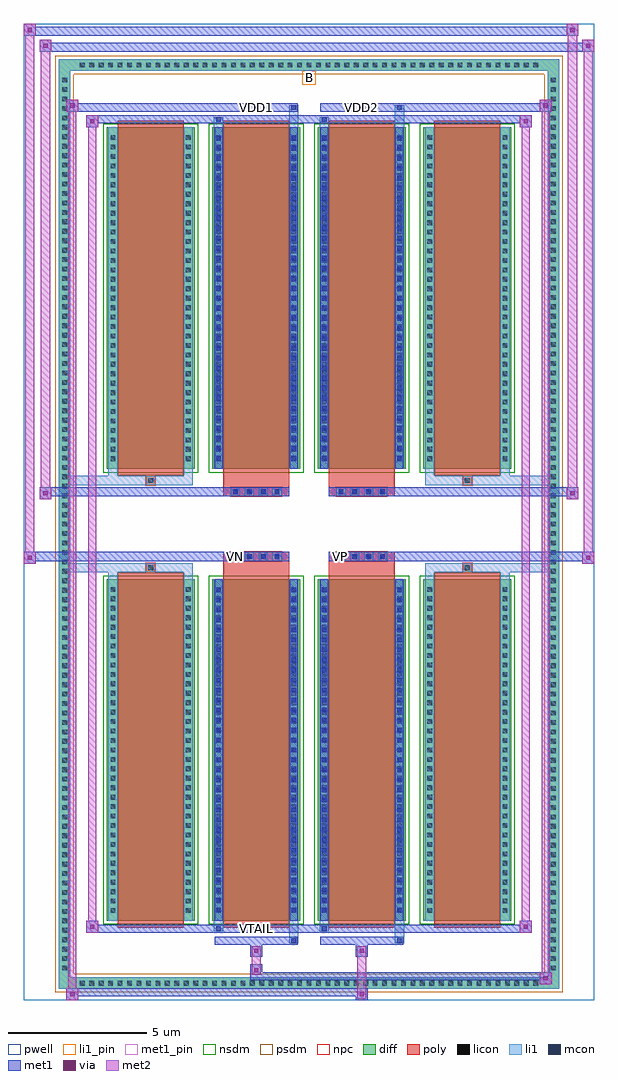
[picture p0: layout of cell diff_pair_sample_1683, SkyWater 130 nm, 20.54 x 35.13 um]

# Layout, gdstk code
import gdstk
lib = gdstk.Library(unit=1e-6, precision=5e-09)
def R(c, l, rs):  # rectangles x0, y0, x1, y1
    for r in rs: c.add(gdstk.rectangle(r[:2], r[2:], *l))
def A(c, l, x, y, w, h, nx, ny, dx, dy):  # array of equal rectangles
    R(c, l, [(x+i*dx, y+j*dy, x+i*dx+w, y+j*dy+h) for i in range(nx) for j in range(ny)])
def P(c, l, *ps):  # polygons
    for p in ps: c.add(gdstk.Polygon(p, *l))
pwell = (64, 44)
diff = (65, 20)
poly = (66, 20)
licon = (66, 44)
li1_pin = (67, 16)
li1 = (67, 20)
mcon = (67, 44)
met1_pin = (68, 16)
met1 = (68, 20)
via = (68, 44)
met2 = (69, 20)
nsdm = (93, 44)
psdm = (94, 20)
npc = (95, 20)

diff_pair_sample_1683 = lib.new_cell('diff_pair_sample_1683')
R(diff_pair_sample_1683, pwell, [(-10.27,-17.13,10.27,18), (-7.59,-15.32,-0.01,-0.8), (0.01,-15.32,7.59,-0.8), (-7.59,0.8,-0.01,15.32), (0.01,0.8,7.59,15.32)])
A(diff_pair_sample_1683, diff, -8.365, -16.73, 0.41, 0.41, 49, 2, 0.34, 33.05)
A(diff_pair_sample_1683, diff, -9, -16.185, 0.41, 0.41, 1, 95, 0, 0.34)
A(diff_pair_sample_1683, diff, 8.59, -16.185, 0.41, 0.41, 1, 95, 0, 0.34)
A(diff_pair_sample_1683, diff, -7.28, -14.275, 3.16, 12.29, 4, 2, 3.8, 16.26)
R(diff_pair_sample_1683, diff, [(-8.365,-16.73,8.365,-16.32), (-9,-16.185,-8.59,16.185), (8.59,-16.185,9,16.185), (-8.365,16.32,8.365,16.73)])
P(diff_pair_sample_1683, diff, [(9,16.73),(-9,16.73),(-9,-16.32),(-8.59,-16.32),(-8.59,16.32),(8.59,16.32),(8.59,-16.32),(-8.59,-16.32),(-9,-16.32),(-9,-16.73),(9,-16.73)])
A(diff_pair_sample_1683, poly, -6.89, -14.525, 2.38, 12.79, 4, 2, 3.8, 16.26)
A(diff_pair_sample_1683, poly, -2.815, -1.33, 0.33, 0.33, 4, 2, 0.5, 2.33)
A(diff_pair_sample_1683, poly, 0.985, -1.33, 0.33, 0.33, 4, 2, 0.5, 2.33)
R(diff_pair_sample_1683, poly, [(-5.865,-1.735,-5.535,-1.405), (-5.865,-1.735,-5.535,-1.405), (-3.09,-1.735,-0.71,-1.33), (0.71,-1.735,3.09,-1.33), (5.535,-1.735,5.865,-1.405), (5.535,-1.735,5.865,-1.405), (-3.09,-1.33,-0.71,-1), (0.71,-1.33,3.09,-1), (-3.09,1,-0.71,1.33), (0.71,1,3.09,1.33), (-3.09,1.33,-0.71,1.735), (0.71,1.33,3.09,1.735), (-5.865,1.405,-5.535,1.735), (-5.865,1.405,-5.535,1.735), (5.535,1.405,5.865,1.735), (5.535,1.405,5.865,1.735)])
A(diff_pair_sample_1683, licon, -8.245, -16.61, 0.17, 0.17, 49, 2, 0.34, 33.05)
A(diff_pair_sample_1683, licon, -8.88, -16.065, 0.17, 0.17, 1, 95, 0, 0.34)
A(diff_pair_sample_1683, licon, 8.71, -16.065, 0.17, 0.17, 1, 95, 0, 0.34)
A(diff_pair_sample_1683, licon, -7.14, -13.995, 0.17, 0.17, 1, 35, 0, 0.34)
A(diff_pair_sample_1683, licon, -4.43, -13.995, 0.17, 0.17, 1, 35, 0, 0.34)
A(diff_pair_sample_1683, licon, -3.34, -13.995, 0.17, 0.17, 1, 35, 0, 0.34)
A(diff_pair_sample_1683, licon, -0.63, -13.995, 0.17, 0.17, 1, 35, 0, 0.34)
A(diff_pair_sample_1683, licon, 0.46, -13.995, 0.17, 0.17, 1, 35, 0, 0.34)
A(diff_pair_sample_1683, licon, 3.17, -13.995, 0.17, 0.17, 1, 35, 0, 0.34)
A(diff_pair_sample_1683, licon, 4.26, -13.995, 0.17, 0.17, 1, 35, 0, 0.34)
A(diff_pair_sample_1683, licon, 6.97, -13.995, 0.17, 0.17, 1, 35, 0, 0.34)
A(diff_pair_sample_1683, licon, -2.735, -1.25, 0.17, 0.17, 4, 2, 0.5, 2.33)
A(diff_pair_sample_1683, licon, 1.065, -1.25, 0.17, 0.17, 4, 2, 0.5, 2.33)
A(diff_pair_sample_1683, licon, -7.14, 2.265, 0.17, 0.17, 1, 35, 0, 0.34)
A(diff_pair_sample_1683, licon, -4.43, 2.265, 0.17, 0.17, 1, 35, 0, 0.34)
A(diff_pair_sample_1683, licon, -3.34, 2.265, 0.17, 0.17, 1, 35, 0, 0.34)
A(diff_pair_sample_1683, licon, -0.63, 2.265, 0.17, 0.17, 1, 35, 0, 0.34)
A(diff_pair_sample_1683, licon, 0.46, 2.265, 0.17, 0.17, 1, 35, 0, 0.34)
A(diff_pair_sample_1683, licon, 3.17, 2.265, 0.17, 0.17, 1, 35, 0, 0.34)
A(diff_pair_sample_1683, licon, 4.26, 2.265, 0.17, 0.17, 1, 35, 0, 0.34)
A(diff_pair_sample_1683, licon, 6.97, 2.265, 0.17, 0.17, 1, 35, 0, 0.34)
R(diff_pair_sample_1683, licon, [(-5.785,-1.655,-5.615,-1.485), (5.615,-1.655,5.785,-1.485), (-5.785,1.485,-5.615,1.655), (5.615,1.485,5.785,1.655)])
R(diff_pair_sample_1683, li1_pin, [(-0.25,15.82,0.25,16.32)])
A(diff_pair_sample_1683, li1, -8.325, -16.69, 0.33, 0.33, 49, 2, 0.34, 33.05)
A(diff_pair_sample_1683, li1, -8.96, -16.145, 0.33, 0.33, 1, 95, 0, 0.34)
A(diff_pair_sample_1683, li1, 8.63, -16.145, 0.33, 0.33, 1, 95, 0, 0.34)
A(diff_pair_sample_1683, li1, -7.22, -14.075, 0.33, 0.33, 1, 35, 0, 0.34)
A(diff_pair_sample_1683, li1, -4.51, -14.075, 0.33, 0.33, 1, 35, 0, 0.34)
A(diff_pair_sample_1683, li1, -3.42, -14.075, 0.33, 0.33, 1, 35, 0, 0.34)
A(diff_pair_sample_1683, li1, -0.71, -14.075, 0.33, 0.33, 1, 35, 0, 0.34)
A(diff_pair_sample_1683, li1, 0.38, -14.075, 0.33, 0.33, 1, 35, 0, 0.34)
A(diff_pair_sample_1683, li1, 3.09, -14.075, 0.33, 0.33, 1, 35, 0, 0.34)
A(diff_pair_sample_1683, li1, 4.18, -14.075, 0.33, 0.33, 1, 35, 0, 0.34)
A(diff_pair_sample_1683, li1, 6.89, -14.075, 0.33, 0.33, 1, 35, 0, 0.34)
A(diff_pair_sample_1683, li1, -3.34, -13.975, 0.17, 0.17, 1, 33, 0, 0.36)
A(diff_pair_sample_1683, li1, -0.63, -13.975, 0.17, 0.17, 1, 33, 0, 0.36)
A(diff_pair_sample_1683, li1, 0.46, -13.975, 0.17, 0.17, 1, 33, 0, 0.36)
A(diff_pair_sample_1683, li1, 3.17, -13.975, 0.17, 0.17, 1, 33, 0, 0.36)
A(diff_pair_sample_1683, li1, -2.815, -1.33, 0.33, 0.33, 4, 2, 0.5, 2.33)
A(diff_pair_sample_1683, li1, 0.985, -1.33, 0.33, 0.33, 4, 2, 0.5, 2.33)
A(diff_pair_sample_1683, li1, -7.22, 2.185, 0.33, 0.33, 1, 35, 0, 0.34)
A(diff_pair_sample_1683, li1, -4.51, 2.185, 0.33, 0.33, 1, 35, 0, 0.34)
A(diff_pair_sample_1683, li1, -3.42, 2.185, 0.33, 0.33, 1, 35, 0, 0.34)
A(diff_pair_sample_1683, li1, -0.71, 2.185, 0.33, 0.33, 1, 35, 0, 0.34)
A(diff_pair_sample_1683, li1, 0.38, 2.185, 0.33, 0.33, 1, 35, 0, 0.34)
A(diff_pair_sample_1683, li1, 3.09, 2.185, 0.33, 0.33, 1, 35, 0, 0.34)
A(diff_pair_sample_1683, li1, 4.18, 2.185, 0.33, 0.33, 1, 35, 0, 0.34)
A(diff_pair_sample_1683, li1, 6.89, 2.185, 0.33, 0.33, 1, 35, 0, 0.34)
A(diff_pair_sample_1683, li1, -3.34, 2.285, 0.17, 0.17, 1, 33, 0, 0.36)
A(diff_pair_sample_1683, li1, -0.63, 2.285, 0.17, 0.17, 1, 33, 0, 0.36)
A(diff_pair_sample_1683, li1, 0.46, 2.285, 0.17, 0.17, 1, 33, 0, 0.36)
A(diff_pair_sample_1683, li1, 3.17, 2.285, 0.17, 0.17, 1, 33, 0, 0.36)
R(diff_pair_sample_1683, li1, [(-9,-16.73,-8.59,-16.32), (-9,-16.73,-8.59,-16.32), (-8.59,-16.73,8.59,-16.32), (8.59,-16.73,9,-16.32), (8.59,-16.73,9,-16.32), (-9,-16.32,-8.59,16.32), (8.59,-16.32,9,16.32), (-0.71,-15.08,-0.38,-14.275), (-0.63,-15.08,-0.46,-14.91), (3.09,-15.08,3.42,-14.275), (3.17,-15.08,3.34,-14.91), (-3.42,-14.65,-3.09,-14.275), (-3.34,-14.65,-3.17,-14.48), (0.38,-14.65,0.71,-14.275), (0.46,-14.65,0.63,-14.48), (-7.22,-14.275,-6.89,-1.985), (-4.51,-14.275,-4.18,-1.985), (-3.42,-14.275,-3.09,-1.985), (-0.71,-14.275,-0.38,-1.985), (0.38,-14.275,0.71,-1.985), (3.09,-14.275,3.42,-1.985), (4.18,-14.275,4.51,-1.985), (6.89,-14.275,7.22,-1.985), (-3.34,-13.975,-3.17,-2.285), (-0.63,-13.975,-0.46,-2.285), (0.46,-13.975,0.63,-2.285), (3.17,-13.975,3.34,-2.285), (-7.22,-1.985,-6.89,-1.405), (-4.51,-1.985,-4.18,-1.405), (4.18,-1.985,4.51,-1.405), (6.89,-1.985,7.22,-1.405), (-9,-1.735,-5.865,-1.405), (-7.22,-1.735,-5.865,-1.405), (-5.865,-1.735,-5.535,-1.405), (-5.535,-1.735,-4.18,-1.405), (4.18,-1.735,5.535,-1.405), (5.535,-1.735,5.865,-1.405), (5.535,-1.735,9,-1.405), (5.865,-1.735,7.22,-1.405), (-9,1.405,-5.865,1.735), (-7.22,1.405,-5.865,1.735), (-7.22,1.405,-6.89,1.985), (-5.865,1.405,-5.535,1.735), (-5.535,1.405,-4.18,1.735), (-4.51,1.405,-4.18,1.985), (4.18,1.405,5.535,1.735), (4.18,1.405,4.51,1.985), (5.535,1.405,5.865,1.735), (5.535,1.405,9,1.735), (5.865,1.405,7.22,1.735), (6.89,1.405,7.22,1.985), (-7.22,1.985,-6.89,14.275), (-4.51,1.985,-4.18,14.275), (-3.42,1.985,-3.09,14.275), (-0.71,1.985,-0.38,14.275), (0.38,1.985,0.71,14.275), (3.09,1.985,3.42,14.275), (4.18,1.985,4.51,14.275), (6.89,1.985,7.22,14.275), (-3.34,2.285,-3.17,13.975), (-0.63,2.285,-0.46,13.975), (0.46,2.285,0.63,13.975), (3.17,2.285,3.34,13.975), (-3.42,14.275,-3.09,14.65), (-0.71,14.275,-0.38,15.08), (0.38,14.275,0.71,14.65), (3.09,14.275,3.42,15.08), (-3.34,14.48,-3.17,14.65), (0.46,14.48,0.63,14.65), (-0.63,14.91,-0.46,15.08), (3.17,14.91,3.34,15.08), (-9,16.32,-8.59,16.73), (-9,16.32,-8.59,16.73), (-8.59,16.32,8.59,16.73), (8.59,16.32,9,16.73), (8.59,16.32,9,16.73)])
A(diff_pair_sample_1683, mcon, -3.34, -13.975, 0.17, 0.17, 1, 33, 0, 0.36)
A(diff_pair_sample_1683, mcon, -0.63, -13.975, 0.17, 0.17, 1, 33, 0, 0.36)
A(diff_pair_sample_1683, mcon, 0.46, -13.975, 0.17, 0.17, 1, 33, 0, 0.36)
A(diff_pair_sample_1683, mcon, 3.17, -13.975, 0.17, 0.17, 1, 33, 0, 0.36)
A(diff_pair_sample_1683, mcon, -2.735, -1.25, 0.17, 0.17, 4, 2, 0.5, 2.33)
A(diff_pair_sample_1683, mcon, 1.065, -1.25, 0.17, 0.17, 4, 2, 0.5, 2.33)
A(diff_pair_sample_1683, mcon, -3.34, 2.285, 0.17, 0.17, 1, 33, 0, 0.36)
A(diff_pair_sample_1683, mcon, -0.63, 2.285, 0.17, 0.17, 1, 33, 0, 0.36)
A(diff_pair_sample_1683, mcon, 0.46, 2.285, 0.17, 0.17, 1, 33, 0, 0.36)
A(diff_pair_sample_1683, mcon, 3.17, 2.285, 0.17, 0.17, 1, 33, 0, 0.36)
R(diff_pair_sample_1683, mcon, [(-0.63,-15.08,-0.46,-14.91), (3.17,-15.08,3.34,-14.91), (-3.34,-14.65,-3.17,-14.48), (0.46,-14.65,0.63,-14.48), (-3.34,14.48,-3.17,14.65), (0.46,14.48,0.63,14.65), (-0.63,14.91,-0.46,15.08), (3.17,14.91,3.34,15.08)])
R(diff_pair_sample_1683, met1_pin, [(-2.035,-14.69,-1.765,-14.42), (-2.785,-1.29,-2.515,-1.02), (1.015,-1.29,1.285,-1.02), (-2.035,14.87,-1.765,15.14), (1.765,14.87,2.035,15.14)])
A(diff_pair_sample_1683, met1, -3.4, -14.035, 0.29, 0.29, 1, 33, 0, 0.36)
A(diff_pair_sample_1683, met1, -0.69, -14.035, 0.29, 0.29, 1, 33, 0, 0.36)
A(diff_pair_sample_1683, met1, 0.4, -14.035, 0.29, 0.29, 1, 33, 0, 0.36)
A(diff_pair_sample_1683, met1, 3.11, -14.035, 0.29, 0.29, 1, 33, 0, 0.36)
A(diff_pair_sample_1683, met1, -2.795, -1.31, 0.29, 0.29, 4, 2, 0.5, 2.33)
A(diff_pair_sample_1683, met1, 1.005, -1.31, 0.29, 0.29, 4, 2, 0.5, 2.33)
A(diff_pair_sample_1683, met1, -3.4, 2.225, 0.29, 0.29, 1, 33, 0, 0.36)
A(diff_pair_sample_1683, met1, -0.69, 2.225, 0.29, 0.29, 1, 33, 0, 0.36)
A(diff_pair_sample_1683, met1, 0.4, 2.225, 0.29, 0.29, 1, 33, 0, 0.36)
A(diff_pair_sample_1683, met1, 3.11, 2.225, 0.29, 0.29, 1, 33, 0, 0.36)
R(diff_pair_sample_1683, met1, [(-8.73,-17.13,-8.3,-16.7), (1.685,-17.13,2.115,-16.7), (-8.73,-16.99,2.115,-16.7), (8.3,-16.56,8.73,-16.13), (-2.115,-16.42,8.73,-16.13), (-2.115,-16.28,-1.685,-15.85), (-2.115,-15.57,-1.685,-15.14), (1.685,-15.57,2.115,-15.14), (-3.4,-15.14,-0.4,-14.85), (-0.69,-15.14,-0.4,-14.85), (0.4,-15.14,3.4,-14.85), (3.11,-15.14,3.4,-14.85), (-8.02,-14.71,-7.59,-14.28), (-8.02,-14.71,-3.4,-14.42), (-3.4,-14.71,-3.11,-14.42), (-3.4,-14.71,-0.4,-14.42), (-0.4,-14.71,0.4,-14.42), (0.4,-14.71,0.69,-14.42), (0.4,-14.71,3.4,-14.42), (3.4,-14.71,8.02,-14.42), (7.59,-14.71,8.02,-14.28), (-3.4,-14.275,-3.11,-1.985), (-0.69,-14.275,-0.4,-1.985), (0.4,-14.275,0.69,-1.985), (3.11,-14.275,3.4,-1.985), (-10.27,-1.43,-9.84,-1), (9.84,-1.43,10.27,-1), (-10.27,-1.33,-0.71,-1), (-3.09,-1.33,-0.71,-1), (0.71,-1.33,3.09,-1), (0.71,-1.33,10.27,-1), (-9.7,0.9,-9.27,1.33), (9.27,0.9,9.7,1.33), (-9.7,1,-3.09,1.33), (-3.09,1,-0.71,1.33), (0.71,1,3.09,1.33), (3.09,1,9.7,1.33), (-3.4,1.985,-3.11,14.275), (-0.69,1.985,-0.4,14.275), (0.4,1.985,0.69,14.275), (3.11,1.985,3.4,14.275), (-8.02,14.28,-7.59,14.71), (7.59,14.28,8.02,14.71), (-8.02,14.42,-3.4,14.71), (-3.4,14.42,-3.11,14.71), (-3.4,14.42,-0.4,14.71), (-0.4,14.42,0.4,14.71), (0.4,14.42,0.69,14.71), (0.4,14.42,3.4,14.71), (3.4,14.42,8.02,14.71), (-8.73,14.85,-8.3,15.28), (-8.73,14.85,-3.4,15.14), (-3.4,14.85,-0.4,15.14), (-0.69,14.85,-0.4,15.14), (0.4,14.85,3.4,15.14), (3.11,14.85,3.4,15.14), (3.4,14.85,8.73,15.14), (8.3,14.85,8.73,15.28), (-9.7,17,-9.27,17.43), (-9.7,17,-7.59,17.33), (-7.59,17,7.59,17.33), (7.59,17,10.27,17.33), (9.84,17,10.27,17.43), (-10.27,17.57,-9.84,18), (-10.27,17.57,-7.59,17.9), (-7.59,17.57,7.59,17.9), (7.59,17.57,9.7,17.9), (9.27,17.57,9.7,18)])
R(diff_pair_sample_1683, via, [(-8.59,-16.99,-8.44,-16.84), (1.825,-16.99,1.975,-16.84), (8.44,-16.42,8.59,-16.27), (-1.975,-16.14,-1.825,-15.99), (-1.975,-15.43,-1.825,-15.28), (1.825,-15.43,1.975,-15.28), (-7.88,-14.57,-7.73,-14.42), (7.73,-14.57,7.88,-14.42), (-10.13,-1.29,-9.98,-1.14), (9.98,-1.29,10.13,-1.14), (-9.56,1.04,-9.41,1.19), (9.41,1.04,9.56,1.19), (-7.88,14.42,-7.73,14.57), (7.73,14.42,7.88,14.57), (-8.59,14.99,-8.44,15.14), (8.44,14.99,8.59,15.14), (-9.56,17.14,-9.41,17.29), (9.98,17.14,10.13,17.29), (-10.13,17.71,-9.98,17.86), (9.41,17.71,9.56,17.86)])
R(diff_pair_sample_1683, met2, [(-8.73,-17.13,-8.3,-16.7), (-8.66,-17.13,-8.37,15.28), (-8.37,-17.13,-8.3,-16.7), (-8.68,-17.08,-8.35,-16.75), (1.735,-17.08,2.065,-16.75), (1.735,-16.75,2.065,-15.52), (8.3,-16.56,8.73,-16.13), (8.37,-16.56,8.66,15.28), (8.66,-16.56,8.73,-16.13), (8.35,-16.51,8.68,-16.18), (-2.065,-16.23,-1.735,-15.9), (-2.065,-15.9,-1.735,-15.52), (-2.065,-15.52,-1.735,-15.19), (1.735,-15.52,2.065,-15.19), (-8.02,-14.71,-7.59,-14.28), (-7.95,-14.71,-7.66,14.71), (-7.66,-14.71,-7.59,-14.28), (7.59,-14.71,8.02,-14.28), (7.66,-14.71,7.95,14.71), (7.95,-14.71,8.02,-14.28), (-7.97,-14.66,-7.64,-14.33), (7.64,-14.66,7.97,-14.33), (-10.27,-1.43,-9.84,-1), (-10.22,-1.43,-9.89,18), (-9.89,-1.43,-9.84,-1), (9.84,-1.43,10.27,-1), (9.89,-1.43,10.22,17.43), (10.22,-1.43,10.27,-1), (-10.22,-1.38,-9.89,-1.05), (9.89,-1.38,10.22,-1.05), (-9.7,0.9,-9.27,1.33), (-9.65,0.9,-9.32,17.43), (-9.32,0.9,-9.27,1.33), (9.27,0.9,9.7,1.33), (9.32,0.9,9.65,18), (9.65,0.9,9.7,1.33), (-9.65,0.95,-9.32,1.28), (9.32,0.95,9.65,1.28), (-8.02,14.28,-7.59,14.71), (-7.66,14.28,-7.59,14.71), (7.59,14.28,8.02,14.71), (7.95,14.28,8.02,14.71), (-7.97,14.33,-7.64,14.66), (7.64,14.33,7.97,14.66), (-8.73,14.85,-8.3,15.28), (-8.37,14.85,-8.3,15.28), (8.3,14.85,8.73,15.28), (8.66,14.85,8.73,15.28), (-8.68,14.9,-8.35,15.23), (8.35,14.9,8.68,15.23), (-9.7,17,-9.27,17.43), (-9.32,17,-9.27,17.43), (9.84,17,10.27,17.43), (10.22,17,10.27,17.43), (-9.65,17.05,-9.32,17.38), (9.89,17.05,10.22,17.38), (-10.27,17.57,-9.84,18), (-9.89,17.57,-9.84,18), (9.27,17.57,9.7,18), (9.65,17.57,9.7,18), (-10.22,17.62,-9.89,17.95), (9.32,17.62,9.65,17.95)])
A(diff_pair_sample_1683, nsdm, -7.41, -14.405, 3.42, 12.55, 4, 2, 3.8, 16.26)
P(diff_pair_sample_1683, psdm, [(9.13,16.86),(-9.13,16.86),(-9.13,-16.19),(-8.46,-16.19),(-8.46,16.19),(8.46,16.19),(8.46,-16.19),(-8.46,-16.19),(-9.13,-16.19),(-9.13,-16.86),(9.13,-16.86)])
A(diff_pair_sample_1683, npc, -2.835, -1.35, 0.37, 0.37, 4, 2, 0.5, 2.33)
A(diff_pair_sample_1683, npc, 0.965, -1.35, 0.37, 0.37, 4, 2, 0.5, 2.33)
R(diff_pair_sample_1683, npc, [(-5.885,-1.755,-5.515,-1.385), (5.515,-1.755,5.885,-1.385), (-2.835,-1.35,-1.965,-0.98), (-2.835,-1.35,-1.965,-0.98), (-2.335,-1.35,-1.465,-0.98), (-2.335,-1.35,-1.465,-0.98), (-1.835,-1.35,-0.965,-0.98), (-1.835,-1.35,-0.965,-0.98), (0.965,-1.35,1.835,-0.98), (0.965,-1.35,1.835,-0.98), (1.465,-1.35,2.335,-0.98), (1.465,-1.35,2.335,-0.98), (1.965,-1.35,2.835,-0.98), (1.965,-1.35,2.835,-0.98), (-2.835,0.98,-1.965,1.35), (-2.835,0.98,-1.965,1.35), (-2.335,0.98,-1.465,1.35), (-2.335,0.98,-1.465,1.35), (-1.835,0.98,-0.965,1.35), (-1.835,0.98,-0.965,1.35), (0.965,0.98,1.835,1.35), (0.965,0.98,1.835,1.35), (1.465,0.98,2.335,1.35), (1.465,0.98,2.335,1.35), (1.965,0.98,2.835,1.35), (1.965,0.98,2.835,1.35), (-5.885,1.385,-5.515,1.755), (5.515,1.385,5.885,1.755)])
diff_pair_sample_1683.add(gdstk.Label('VTAIL', (-1.9,-14.555), layer=68, texttype=5))
diff_pair_sample_1683.add(gdstk.Label('VN', (-2.65,-1.155), layer=68, texttype=5))
diff_pair_sample_1683.add(gdstk.Label('VP', (1.15,-1.155), layer=68, texttype=5))
diff_pair_sample_1683.add(gdstk.Label('B', (0,16.07), layer=67, texttype=5))
diff_pair_sample_1683.add(gdstk.Label('VDD2', (1.9,15.005), layer=68, texttype=5))
diff_pair_sample_1683.add(gdstk.Label('VDD1', (-1.9,15.005), layer=68, texttype=5))

lib.write_gds('diff_pair_sample_1683.gds')
